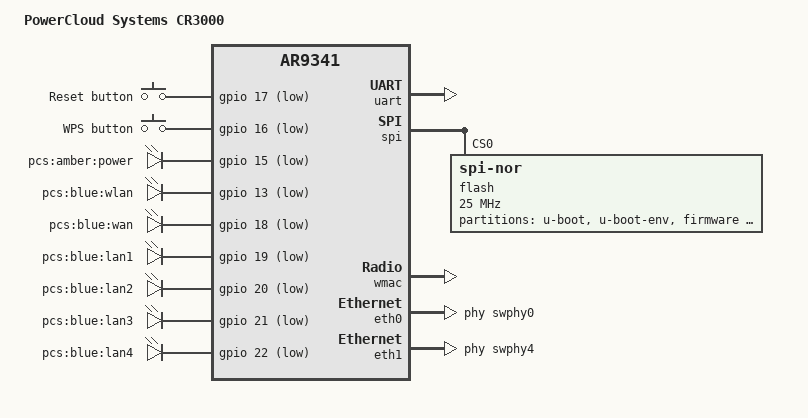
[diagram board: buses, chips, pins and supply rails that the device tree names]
// SPDX-License-Identifier: GPL-2.0-or-later OR MIT
/dts-v1/;

#include <dt-bindings/gpio/gpio.h>
#include <dt-bindings/input/input.h>

#include "ar9341.dtsi"

/ {
	model = "PowerCloud Systems CR3000";
	compatible = "pcs,cr3000", "qca,ar9341";

	aliases {
		serial0 = &uart;
		led-boot = &led_power;
		led-failsafe = &led_power;
		led-running = &led_power;
		led-upgrade = &led_power;
	};

	keys {
		compatible = "gpio-keys";

		pinctrl-names = "default";
		pinctrl-0 = <&jtag_disable_pins>;

		reset {
			label = "Reset button";
			linux,code = <KEY_RESTART>;
			gpios = <&gpio 17 GPIO_ACTIVE_LOW>;
			debounce-interval = <60>;
		};

		wps {
			label = "WPS button";
			linux,code = <KEY_WPS_BUTTON>;
			gpios = <&gpio 16 GPIO_ACTIVE_LOW>;
			debounce-interval = <60>;
		};
	};

	leds {
		compatible = "gpio-leds";

		led_power: power {
			label = "pcs:amber:power";
			gpios = <&gpio 15 GPIO_ACTIVE_LOW>;
			default-state = "on";
		};

		wlan2g {
			label = "pcs:blue:wlan";
			gpios = <&gpio 13 GPIO_ACTIVE_LOW>;
			linux,default-trigger = "phy0tpt";
		};

		wan {
			label = "pcs:blue:wan";
			gpios = <&gpio 18 GPIO_ACTIVE_LOW>;
		};

		lan1 {
			label = "pcs:blue:lan1";
			gpios = <&gpio 19 GPIO_ACTIVE_LOW>;
		};

		lan2 {
			label = "pcs:blue:lan2";
			gpios = <&gpio 20 GPIO_ACTIVE_LOW>;
		};

		lan3 {
			label = "pcs:blue:lan3";
			gpios = <&gpio 21 GPIO_ACTIVE_LOW>;
		};

		lan4 {
			label = "pcs:blue:lan4";
			gpios = <&gpio 22 GPIO_ACTIVE_LOW>;
		};
	};
};

&ref {
	clock-frequency = <25000000>;
};

&uart {
	status = "okay";
};

&gpio {
	status = "okay";
};

&spi {
	num-cs = <1>;

	status = "okay";

	flash@0 {
		compatible = "jedec,spi-nor";
		reg = <0>;
		spi-max-frequency = <25000000>;

		partitions {
			compatible = "fixed-partitions";
			#address-cells = <1>;
			#size-cells = <1>;

			uboot: partition@0 {
				label = "u-boot";
				reg = <0x000000 0x040000>;
				read-only;
			};

			partition@40000 {
				label = "u-boot-env";
				reg = <0x040000 0x010000>;
				read-only;
			};

			partition@50000 {
				compatible = "denx,uimage";
				label = "firmware";
				reg = <0x050000 0x07a0000>;
			};

			art: partition@7f0000 {
				label = "art";
				reg = <0x7f0000 0x010000>;
				read-only;
			};
		};
	};
};

&wmac {
	status = "okay";

	mtd-cal-data = <&art 0x1000>;
};

&eth0 {
	status = "okay";

	phy-handle = <&swphy0>;
	mtd-mac-address = <&art 0x0>;
	mtd-mac-address-increment = <1>;
};

&eth1 {
	phy-handle = <&swphy4>;
	pll-data = <0x06000000 0x00000101 0x00001616>;

	mtd-mac-address = <&art 0x0>;

	gmac-config {
		device = <&gmac>;
		switch-phy-swap = <1>;
	};
};
